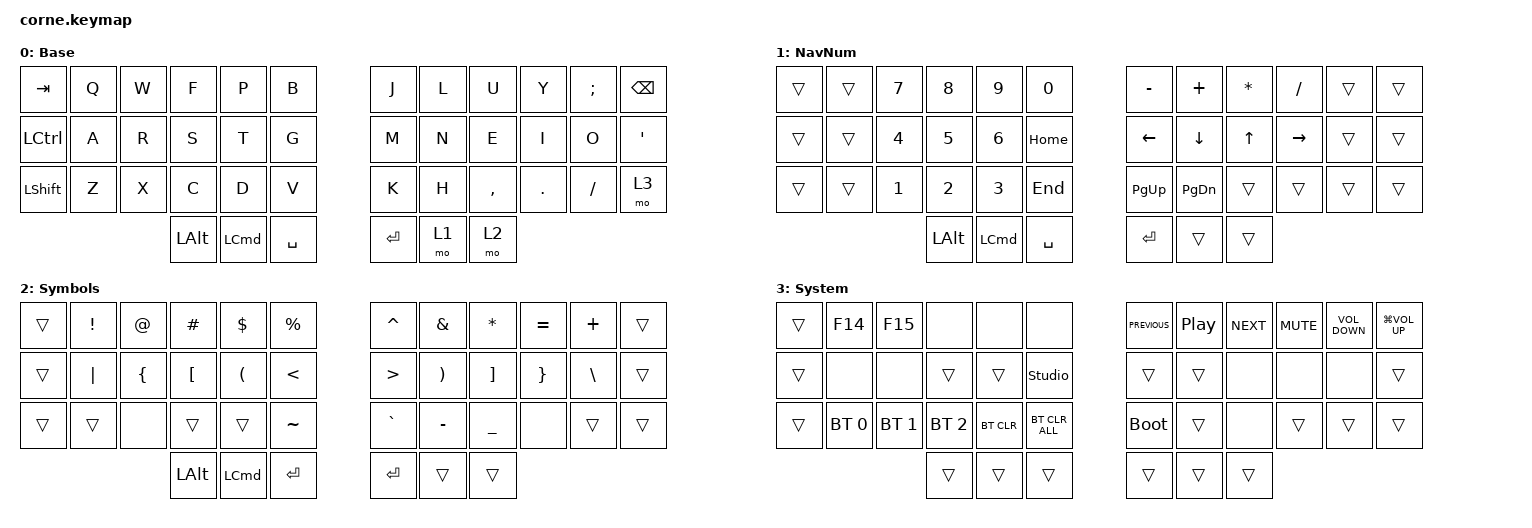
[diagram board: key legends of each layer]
#include <behaviors.dtsi>
#include <dt-bindings/zmk/bt.h>
#include <dt-bindings/zmk/keys.h>

#define DEF 0
#define NAV 1
#define SYM 2
#define ADJ 3
#define EXTRA 4

/ {
    behaviors {
        hm: homerow_mods {
            compatible = "zmk,behavior-hold-tap";
            #binding-cells = <2>;
            tapping-term-ms = <200>;
            flavor = "tap-preferred";
            bindings = <&kp>, <&kp>;

            quick-tap-ms = <180>;
            require-prior-idle-ms = <120>; /* tune to taste */
        };

        para: para {
            compatible = "zmk,behavior-tap-dance";
            #binding-cells = <0>;
            bindings = <&kp LEFT_PARENTHESIS>, <&kp RIGHT_PARENTHESIS>;
        };

        caps: caps {
            compatible = "zmk,behavior-caps-word";
            #binding-cells = <0>;
            continue-list = <MINUS BACKSPACE>;
        };

        paraless: paraless {
            compatible = "zmk,behavior-mod-morph";
            bindings = <&kp LEFT_PARENTHESIS>, <&kp LESS_THAN>;

            #binding-cells = <0>;
            mods = <(MOD_LSFT)>;
        };

        paragreat: paragreat {
            compatible = "zmk,behavior-mod-morph";
            bindings = <&kp RIGHT_PARENTHESIS>, <&kp GREATER_THAN>;

            #binding-cells = <0>;
            mods = <(MOD_LSFT)>;
        };
    };

    combos {
        compatible = "zmk,combos";

        escape {
            bindings = <&kp ESCAPE>;
            key-positions = <19 20>;
        };

        perc {
            bindings = <&kp PERCENT>;
            key-positions = <16 3>;
            layers = <0>;
        };

        equal {
            bindings = <&kp EQUAL>;
            key-positions = <15 28>;
            layers = <0>;
        };

        dollar {
            bindings = <&kp DOLLAR>;
            key-positions = <4 16>;
            layers = <0>;
        };

        pound {
            bindings = <&kp POUND>;
            key-positions = <3 15>;
            layers = <0>;
        };

        at {
            bindings = <&kp AT>;
            key-positions = <2 14>;
            layers = <0>;
        };

        backslash {
            bindings = <&kp BACKSLASH>;
            key-positions = <26 14>;
            layers = <0>;
        };

        star {
            bindings = <&kp STAR>;
            key-positions = <8 20>;
            layers = <0>;
        };

        slash {
            bindings = <&kp SLASH>;
            key-positions = <32 20>;
            layers = <0>;
        };

        plus {
            bindings = <&kp PLUS>;
            key-positions = <7 19>;
            layers = <0>;
        };

        minus {
            bindings = <&kp KP_MINUS>;
            key-positions = <31 32>;
            layers = <0>;
        };

        underscore {
            bindings = <&kp UNDER>;
            key-positions = <33 32>;
            layers = <0>;
        };

        sticky_shift {
            bindings = <&sk LEFT_SHIFT>;
            key-positions = <15 16>;
        };

        backspace {
            bindings = <&kp BACKSPACE>;
            key-positions = <21 20>;
        };

        capsword {
            bindings = <&caps_word>;
            key-positions = <13 14>;
        };

        colon {
            bindings = <&kp COLON>;
            key-positions = <31 20>;
        };

        semicolon {
            bindings = <&kp SEMI>;
            key-positions = <19 8>;
        };
    };

    //

    keymap {
        compatible = "zmk,keymap";

        DEF {
            display-name = "Base";

            // -----------------------------------------------------------------------------------------
            // |  Q  |  W  |  E  |  R  |  T  |   |  Y  |  U   |  I  |  O  |  P  |
            // |  A  |  S  |  D  |  F  |  G  |   |  H  |  J   |  K  |  L  |  ;  |
            // |  Z  |  X  |  C  |  V  |  B  |   |  N  |  M   |  ,  |  .  |  /  |
            // | GUI | CTRL | SHFT | LWR | SPC |   | ENT | RSE  | BKSP | ALT | ESC |

            bindings = <
&kp TAB           &kp Q  &kp W  &kp F         &kp P             &kp B        &kp J    &kp L  &kp U      &kp Y    &kp SEMI  &kp BACKSPACE
&kp LEFT_CONTROL  &kp A  &kp R  &kp S         &kp T             &kp G        &kp M    &kp N  &kp E      &kp I    &kp O     &kp SQT
&kp LEFT_SHIFT    &kp Z  &kp X  &kp C         &kp D             &kp V        &kp K    &kp H  &kp COMMA  &kp DOT  &kp FSLH  &mo 3
                                &kp LEFT_ALT  &kp LEFT_COMMAND  &kp SPACE    &kp RET  &mo 1  &mo 2
            >;
        };

        NAV {
            display-name = "NavNum";

            // -----------------------------------------------------------------------------------------
            // |  TAB |  1  |  2  |  3  |  4  |  5  |   |  6  |  7  |  8  |  9  |  0  | BKSP |
            // | BTCLR| BT1 | BT2 | BT3 | BT4 | BT5 |   | LFT | DWN |  UP | RGT |     |      |
            // | SHFT |     |     |     |     |     |   |     |     |     |     |     |      |
            // | GUI | CTRL | SHFT | LWR | SPC |   | ENT | RSE  | BKSP | ALT | ESC |

            bindings = <
&trans  &trans  &kp N7  &kp N8        &kp N9            &kp N0       &kp MINUS       &kp PLUS       &kp STAR      &kp SLASH  &trans  &trans
&trans  &trans  &kp N4  &kp N5        &kp N6            &kp HOME     &kp LEFT_ARROW  &kp DOWN       &kp UP_ARROW  &kp RIGHT  &trans  &trans
&trans  &trans  &kp N1  &kp N2        &kp N3            &kp END      &kp PAGE_UP     &kp PAGE_DOWN  &trans        &trans     &trans  &trans
                        &kp LEFT_ALT  &kp LEFT_COMMAND  &kp SPACE    &kp RET         &trans         &trans
            >;
        };

        SYM {
            display-name = "Symbols";

            // -----------------------------------------------------------------------------------------
            // |  TAB |  !  |  @  |  #  |  $  |  %  |   |  ^  |  &  |  *  |  (  |  )  | BKSP |
            // | CTRL |     |     |     |     |     |   |  -  |  =  |  [  |  ]  |  \  |  `   |
            // | SHFT |     |     |     |     |     |   |  _  |  +  |  {  |  }  | "|" |  ~   |
            //                    | GUI |     | SPC |   | ENT |     | ALT |

            bindings = <
&trans  &kp EXCL  &kp AT    &kp HASH          &kp DLLR              &kp PRCNT        &kp CARET         &kp AMPS               &kp ASTRK          &kp EQUAL  &kp PLUS  &trans
&trans  &kp PIPE  &kp LBRC  &kp LEFT_BRACKET  &kp LEFT_PARENTHESIS  &kp LESS_THAN    &kp GREATER_THAN  &kp RIGHT_PARENTHESIS  &kp RIGHT_BRACKET  &kp RBRC   &kp BSLH  &trans
&trans  &trans    &none     &trans            &trans                &kp TILDE        &kp GRAVE         &kp MINUS              &kp UNDER          &none      &trans    &trans
                            &kp LEFT_ALT      &kp LEFT_COMMAND      &kp ENTER        &kp RET           &trans                 &trans
            >;
        };

        ADJ {
            display-name = "System";
            bindings = <
&trans  &kp F14       &kp F15       &none         &none       &none             &kp C_PREVIOUS  &kp C_PLAY_PAUSE  &kp C_NEXT  &kp K_MUTE  &kp C_VOLUME_DOWN  &kp LG(C_VOLUME_UP)
&trans  &none         &none         &trans        &trans      &studio_unlock    &trans          &trans            &none       &none       &none              &trans
&trans  &bt BT_SEL 0  &bt BT_SEL 1  &bt BT_SEL 2  &bt BT_CLR  &bt BT_CLR_ALL    &bootloader     &trans            &none       &trans      &trans             &trans
                                    &trans        &trans      &trans            &trans          &trans            &trans
            >;
        };
    };
};
